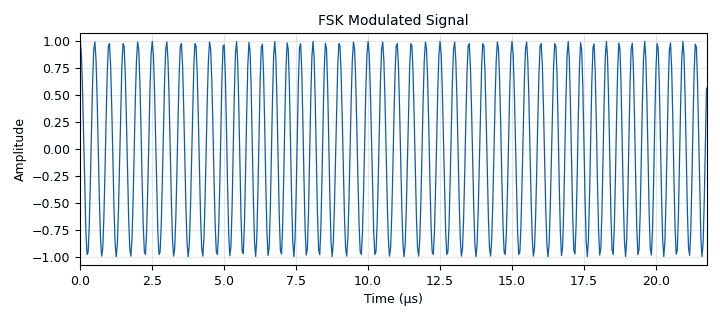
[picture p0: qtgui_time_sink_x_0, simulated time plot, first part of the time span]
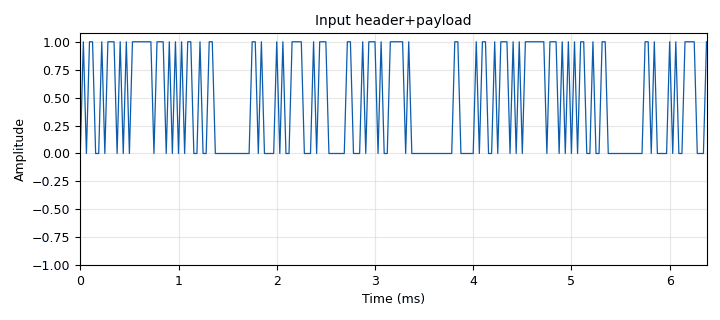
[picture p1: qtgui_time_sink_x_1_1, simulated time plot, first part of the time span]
options:
  parameters:
    author: bunny
    generate_options: qt_gui
    id: FSK_trasmitter
    output_language: python
    title: Not titled yet
  states: {}

blocks:
- name: Sig1
  id: variable
  parameters:
    value: np.exp((1j)*2*np.pi*np.arange(0,100)/100)
  states: {}
- name: hbits
  id: variable
  parameters:
    value: '48'
  states: {}
- name: nbits
  id: variable
  parameters:
    value: '2728'
  states: {}
- name: out_delay
  id: variable_qtgui_range
  parameters:
    label: sig_delay2
    start: '0'
    step: '1'
    stop: '100'
    value: '0'
  states: {}
- name: samp_rate
  id: variable
  parameters:
    value: 3.2e6
  states: {}
- name: sdelay
  id: variable_qtgui_range
  parameters:
    label: sig_delay
    start: '0'
    step: '1'
    stop: '100'
    value: '49'
  states: {}
- name: analog_sig_source_x_0
  id: analog_sig_source_x
  parameters:
    amp: '127'
    freq: '2000'
    offset: '0'
    phase: '0'
    samp_rate: samp_rate/100
    type: byte
    waveform: analog.GR_COS_WAVE
  states: {}
- name: analog_sig_source_x_0_0
  id: analog_sig_source_x
  parameters:
    amp: '1'
    freq: 2e6
    offset: '0'
    phase: '0'
    samp_rate: samp_rate*8
    type: complex
    waveform: analog.GR_COS_WAVE
  states: {}
- name: blocks_char_to_float_0_0
  id: blocks_char_to_float
  parameters:
    scale: '1'
  states: {}
- name: blocks_complex_to_real_1
  id: blocks_complex_to_real
  parameters: {}
  states: {}
- name: blocks_delay_1
  id: blocks_delay
  parameters:
    delay: out_delay
    type: float
  states: {}
- name: blocks_float_to_char_0
  id: blocks_float_to_char
  parameters:
    scale: '1'
  states: {state: disabled}
- name: blocks_multiply_const_vxx_0_0
  id: blocks_multiply_const_vxx
  parameters:
    const: '128'
    type: float
  states: {state: disabled}
- name: blocks_multiply_xx_0
  id: blocks_multiply_xx
  parameters:
    type: complex
  states: {}
- name: blocks_stream_to_tagged_stream_1
  id: blocks_stream_to_tagged_stream
  parameters:
    len_tag_key: '"falign"'
    packet_len: nbits
    type: byte
  states: {}
- name: blocks_tagged_stream_mux_0
  id: blocks_tagged_stream_mux
  parameters:
    lengthtagname: falign
    ninputs: '2'
    type: byte
  states: {}
- name: blocks_unpack_k_bits_bb_0
  id: blocks_unpack_k_bits_bb
  parameters:
    k: '8'
  states: {}
- name: blocks_wavfile_source_0
  id: blocks_wavfile_source
  parameters:
    file: /home/bunny/Projects/BTP work/Final work/vocal.wav
    repeat: 'True'
  states: {state: disabled}
- name: digital_chunks_to_symbols_xx_0_0
  id: digital_chunks_to_symbols_xx
  parameters:
    dimension: '100'
    in_type: byte
    out_type: complex
    symbol_table: np.concatenate((np.ones(100),Sig1))
  states: {}
- name: digital_packet_headergenerator_bb_default_0
  id: digital_packet_headergenerator_bb_default
  parameters:
    header_len: hbits
    len_tag_key: '"falign"'
  states: {}
- name: import_0
  id: import
  parameters:
    imports: import numpy as np
  states: {}
- name: import_0_0
  id: import
  parameters:
    imports: import math
  states: {}
- name: qtgui_time_sink_x_0
  id: qtgui_time_sink_x
  parameters:
    name: '"FSK Modulated Signal"'
    size: '1024'
    srate: samp_rate*8
    type: float
  states: {}
- name: qtgui_time_sink_x_1_1
  id: qtgui_time_sink_x
  parameters:
    label1: ''
    name: '"Input header+payload"'
    size: 1024*4
    srate: 32e3
    type: float
  states: {}

connections:
- [analog_sig_source_x_0, '0', blocks_unpack_k_bits_bb_0, '0']
- [analog_sig_source_x_0_0, '0', blocks_multiply_xx_0, '0']
- [blocks_char_to_float_0_0, '0', qtgui_time_sink_x_1_1, '0']
- [blocks_complex_to_real_1, '0', blocks_delay_1, '0']
- [blocks_delay_1, '0', qtgui_time_sink_x_0, '0']
- [blocks_float_to_char_0, '0', blocks_unpack_k_bits_bb_0, '0']
- [blocks_multiply_const_vxx_0_0, '0', blocks_float_to_char_0, '0']
- [blocks_multiply_xx_0, '0', blocks_complex_to_real_1, '0']
- [blocks_stream_to_tagged_stream_1, '0', blocks_tagged_stream_mux_0, '1']
- [blocks_stream_to_tagged_stream_1, '0', digital_packet_headergenerator_bb_default_0, '0']
- [blocks_tagged_stream_mux_0, '0', blocks_char_to_float_0_0, '0']
- [blocks_tagged_stream_mux_0, '0', digital_chunks_to_symbols_xx_0_0, '0']
- [blocks_unpack_k_bits_bb_0, '0', blocks_stream_to_tagged_stream_1, '0']
- [blocks_wavfile_source_0, '0', blocks_multiply_const_vxx_0_0, '0']
- [digital_chunks_to_symbols_xx_0_0, '0', blocks_multiply_xx_0, '1']
- [digital_packet_headergenerator_bb_default_0, '0', blocks_tagged_stream_mux_0, '0']

metadata:
  file_format: 1
  grc_version: 3.10.7.0
